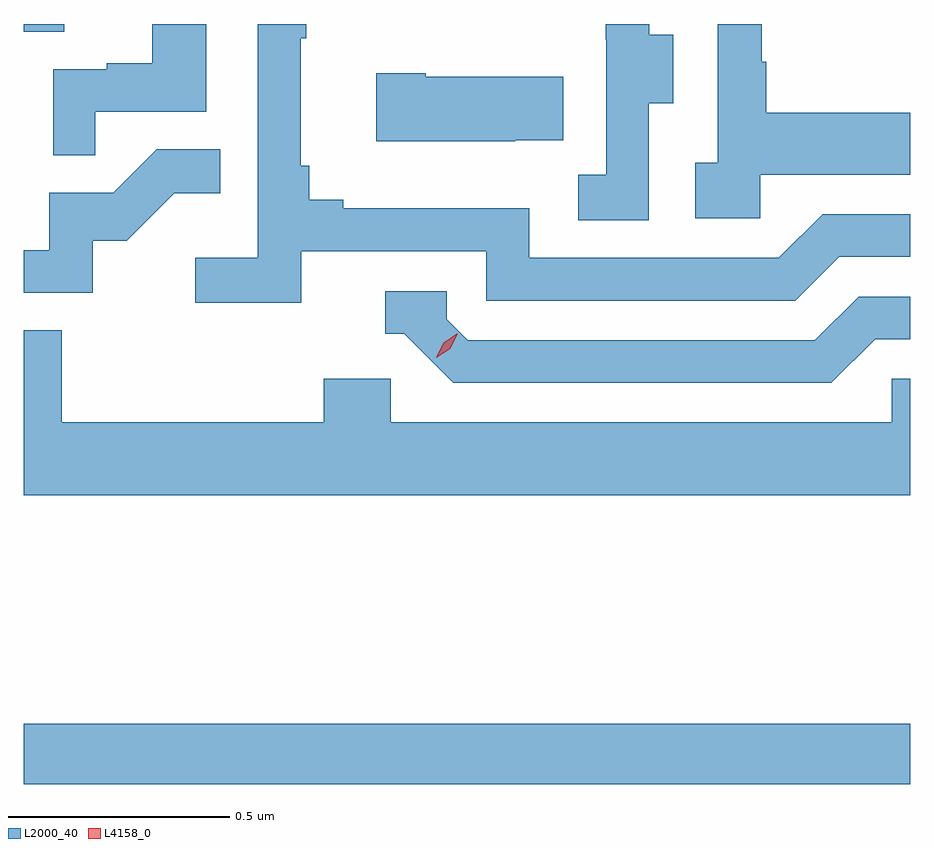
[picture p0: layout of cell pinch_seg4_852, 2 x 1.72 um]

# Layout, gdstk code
import gdstk
lib = gdstk.Library(unit=1e-6, precision=1e-09)
def R(c, l, rs):  # rectangles x0, y0, x1, y1
    for r in rs: c.add(gdstk.rectangle(r[:2], r[2:], *l))
def P(c, l, *ps):  # polygons
    for p in ps: c.add(gdstk.Polygon(p, *l))
L2000_40 = (2000, 40)
L4158_0 = (4158, 0)

pinch_seg4_852 = lib.new_cell('pinch_seg4_852')
R(pinch_seg4_852, L2000_40, [(862.152,806.824,864.152,806.96), (862.152,808.522,862.243,808.539)])
P(pinch_seg4_852, L2000_40, [(862.778,808.026),(863.196,808.026),(863.196,807.915),(863.893,807.915),(863.992,808.014),(864.152,808.014),(864.152,808.11),(863.955,808.11),(863.856,808.011),(863.292,808.011),(863.292,808.123),(862.873,808.123),(862.873,808.142),(862.796,808.142),(862.796,808.219),(862.777,808.219),(862.777,808.507),(862.789,808.507),(862.789,808.539),(862.68,808.539),(862.68,808.012),(862.539,808.012),(862.539,807.91),(862.778,807.91)],
  [(862.313,808.341),(862.564,808.341),(862.564,808.539),(862.442,808.539),(862.442,808.45),(862.339,808.45),(862.339,808.437),(862.218,808.437),(862.218,808.243),(862.313,808.243)],
  [(863.814,808.199),(864.152,808.199),(864.152,808.339),(863.827,808.339),(863.827,808.454),(863.817,808.454),(863.817,808.539),(863.718,808.539),(863.718,808.226),(863.667,808.226),(863.667,808.101),(863.814,808.101)],
  [(863.562,808.36),(863.617,808.36),(863.617,808.515),(863.563,808.515),(863.563,808.539),(863.465,808.539),(863.465,808.503),(863.466,808.503),(863.466,808.199),(863.403,808.199),(863.403,808.096),(863.562,808.096)],
  [(863.261,808.277),(863.369,808.277),(863.369,808.42),(863.059,808.42),(863.059,808.428),(862.947,808.428),(862.947,808.274),(863.261,808.274)],
  [(862.308,808.05),(862.384,808.05),(862.491,808.157),(862.595,808.157),(862.595,808.256),(862.452,808.256),(862.354,808.158),(862.209,808.158),(862.209,808.029),(862.152,808.029),(862.152,807.933),(862.308,807.933)],
  [(864.073,807.828),(864.152,807.828),(864.152,807.924),(864.036,807.924),(863.937,807.825),(863.154,807.825),(863.106,807.873),(863.106,807.936),(862.967,807.936),(862.967,807.84),(863.01,807.84),(863.121,807.729),(863.974,807.729)],
  [(862.152,807.848),(862.152,807.476),(864.152,807.476),(864.152,807.738),(864.111,807.738),(864.111,807.64),(862.98,807.64),(862.98,807.738),(862.829,807.738),(862.829,807.64),(862.238,807.64),(862.238,807.848)])
P(pinch_seg4_852, L4158_0, [(863.083,807.786),(863.083,807.787),(863.099,807.82),(863.129,807.84),(863.13,807.84),(863.13,807.839),(863.114,807.806),(863.083,807.786)])

lib.write_gds('pinch_seg4_852.gds')
